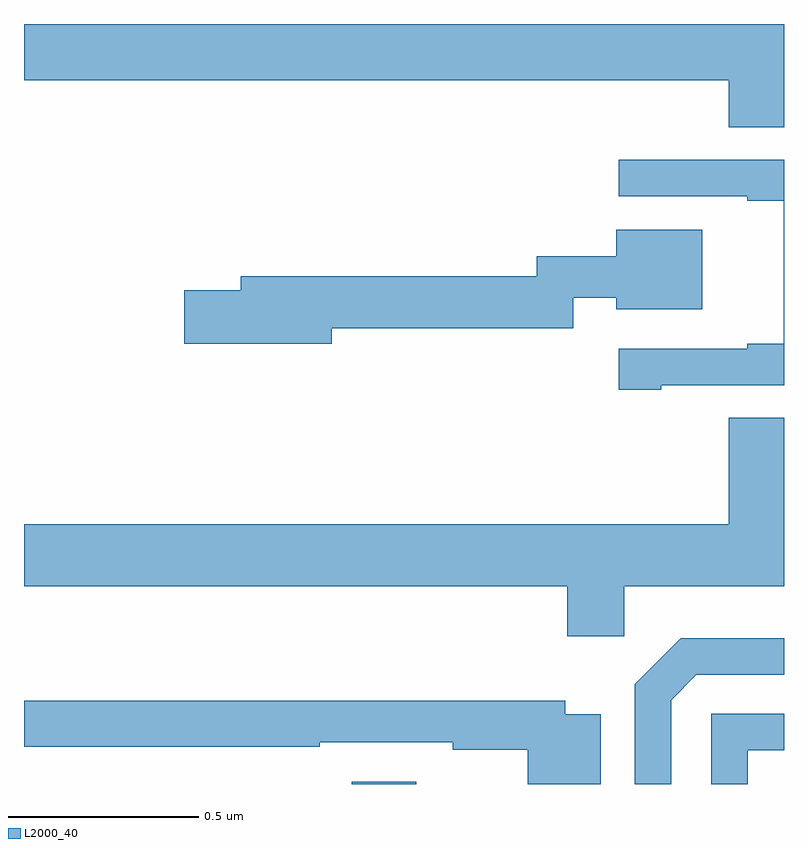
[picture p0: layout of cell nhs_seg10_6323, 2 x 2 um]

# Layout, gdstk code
import gdstk
lib = gdstk.Library(unit=1e-6, precision=1e-09)
def R(c, l, rs):  # rectangles x0, y0, x1, y1
    for r in rs: c.add(gdstk.rectangle(r[:2], r[2:], *l))
def P(c, l, *ps):  # polygons
    for p in ps: c.add(gdstk.Polygon(p, *l))
L2000_40 = (2000, 40)

nhs_seg10_6323 = lib.new_cell('nhs_seg10_6323')
R(nhs_seg10_6323, L2000_40, [(190.862,1262.5,191.032,1262.506)])
P(nhs_seg10_6323, L2000_40, [(192,1264.5),(190,1264.5),(190,1264.352),(191.855,1264.352),(191.855,1264.228),(192,1264.228)],
  [(191.677,1263.549),(192,1263.549),(192,1264.143),(191.565,1264.143),(191.565,1264.047),(191.903,1264.047),(191.903,1264.035),(191.999,1264.035),(191.999,1263.658),(191.903,1263.658),(191.903,1263.645),(191.565,1263.645),(191.565,1263.537),(191.677,1263.537)],
  [(190.81,1263.7),(191.445,1263.7),(191.445,1263.779),(191.558,1263.779),(191.558,1263.749),(191.785,1263.749),(191.785,1263.958),(191.558,1263.958),(191.558,1263.889),(191.349,1263.889),(191.349,1263.836),(190.571,1263.836),(190.571,1263.8),(190.422,1263.8),(190.422,1263.658),(190.81,1263.658)],
  [(191.58,1263.02),(192,1263.02),(192,1263.464),(191.855,1263.464),(191.855,1263.184),(190,1263.184),(190,1263.02),(191.429,1263.02),(191.429,1262.889),(191.58,1262.889)],
  [(191.703,1262.721),(191.769,1262.787),(192,1262.787),(192,1262.884),(191.728,1262.884),(191.607,1262.763),(191.607,1262.5),(191.703,1262.5)],
  [(191.518,1262.683),(191.424,1262.683),(191.424,1262.719),(190,1262.719),(190,1262.598),(190.778,1262.598),(190.778,1262.61),(191.128,1262.61),(191.128,1262.59),(191.326,1262.59),(191.326,1262.5),(191.518,1262.5)],
  [(191.904,1262.589),(192,1262.589),(192,1262.685),(191.808,1262.685),(191.808,1262.5),(191.904,1262.5)])

lib.write_gds('nhs_seg10_6323.gds')
